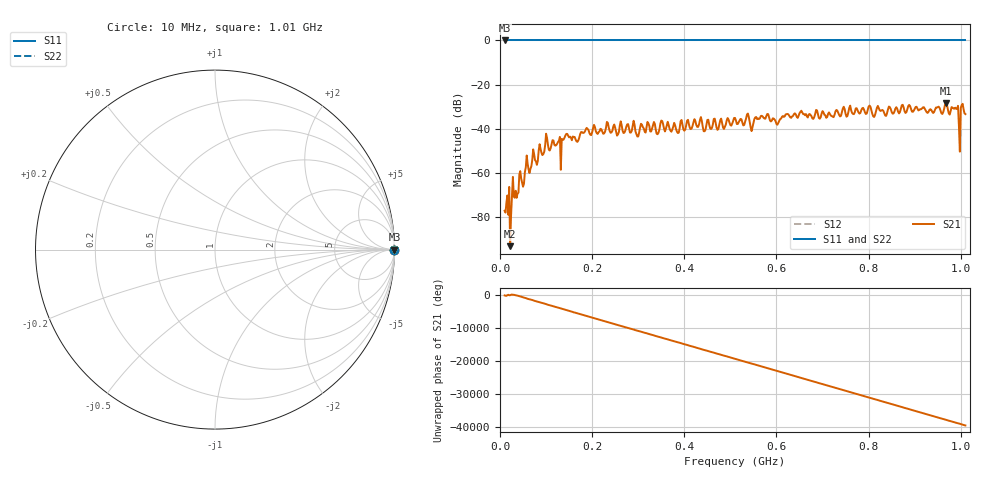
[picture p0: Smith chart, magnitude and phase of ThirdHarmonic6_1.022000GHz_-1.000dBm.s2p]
! 8/16/2025 8:35:44 AM
! C:\ANRITSUVNA\TEMP\TEMP.S2P
! CHANNEL.1
! TR.MEASUREMENT
! RAW.DATA
! RF.CORRECTION.OFF
! AVERAGING.OFF
! IF.BANDWIDTH: 5KHZ
! SWEEPTYPE:  FREQ.SWEEP(Linear)
! Reference Plane Port Info
! PORT:  PORT1  PORT2
! DISTANCE:  0  m  0  m
! TIME:  0  s  0  s
! PHASE.OFFSET:  0  deg.  0  deg.
! LOSS:  0  dB  0  dB
! REF.LOSS:  0  dB  0  dB
! REF.FREQ:  0  Hz  0  Hz
! Power Info
! POWER:  -20  dBm  -20  dBm
! EFF.POWER:  -20  dBm  -20  dBm
! SOURCE.ATTEN:  0  dB  0  dB
! TEST.ATTEN:  0  dB  0  dB
# GHZ S RI R 50.0
! FREQ.GHZ  S11RE  S11IM  S21RE  S21IM  S12RE  S12IM  S22RE  S22IM
!; PortSelection: Port_12
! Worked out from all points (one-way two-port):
!   501 points, 10 MHz to 1.01 GHz, reference 50 ohm
!   highest |S21| = -28.57 dB at 968 MHz (marker M1); lowest = -93.2 dB at 22 MHz (marker M2)
!   lowest |S11| = 0.0 dB at 10 MHz (marker M3)
!   |S11| at or under -10 dB: nowhere
!   |S22| runs from 0.0 to 0.0 dB; largest |S21 - S12| = 1
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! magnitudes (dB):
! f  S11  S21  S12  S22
! 10 MHz  0.0  -77.2  0.0  0.0
! 22 MHz  0.0  -93.2  0.0  0.0
! 58 MHz  0.0  -52.1  0.0  0.0
! 100 MHz  0.0  -42.3  0.0  0.0
! 128 MHz  0.0  -45.4  0.0  0.0
! 144 MHz  0.0  -42.3  0.0  0.0
! 168 MHz  0.0  -46.0  0.0  0.0
! 178 MHz  0.0  -41.6  0.0  0.0
! 344 MHz  0.0  -41.8  0.0  0.0
! 352 MHz  0.0  -36.5  0.0  0.0
! 386 MHz  0.0  -42.0  0.0  0.0
! 510 MHz  0.0  -35.1  0.0  0.0
! 538 MHz  0.0  -33.1  0.0  0.0
! 546 MHz  0.0  -41.1  0.0  0.0
! 568 MHz  0.0  -34.1  0.0  0.0
! 678 MHz  0.0  -35.3  0.0  0.0
! 844 MHz  0.0  -29.9  0.0  0.0
! 968 MHz  0.0  -28.6  0.0  0.0
! 990 MHz  0.0  -31.0  0.0  0.0
! 994 MHz  0.0  -29.6  0.0  0.0
! 1.004 GHz  0.0  -28.7  0.0  0.0
! 1.01 GHz  0.0  -33.4  0.0  0.0
